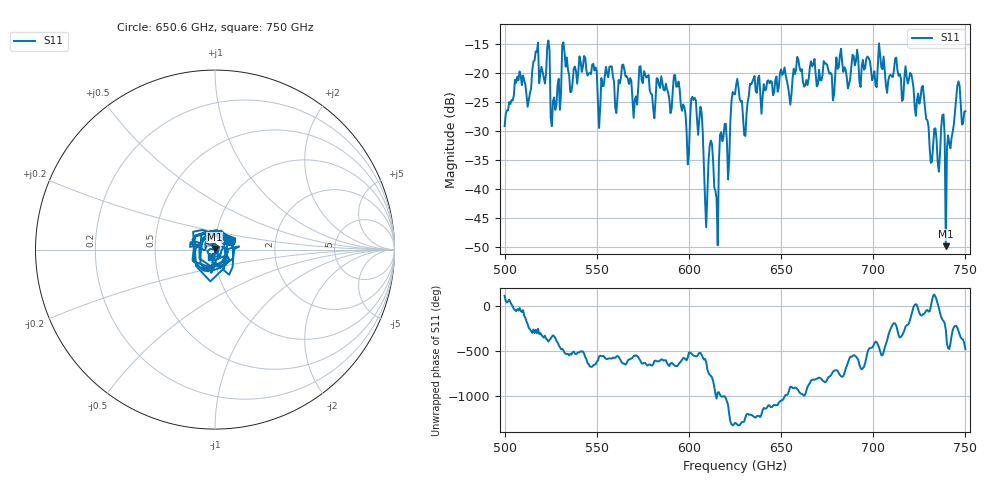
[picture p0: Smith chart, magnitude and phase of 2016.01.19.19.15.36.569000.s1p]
!Created with skrf (http://scikit-rf.org).
# GHz S RI R 50.0
!freq ReS11 ImS11
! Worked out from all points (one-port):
!   401 points, 500 GHz to 750 GHz, reference 50 ohm
!   lowest |S11| = -49.8 dB at 739.4 GHz (marker M1), VSWR 1.01, Z = 50 + j0.32 ohm
!   |S11| at or under -10 dB: start of sweep to end of sweep
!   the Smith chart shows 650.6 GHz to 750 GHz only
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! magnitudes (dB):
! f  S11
! 500 GHz  -29.2
! 506.9 GHz  -20.7
! 513.1 GHz  -24.7
! 516.9 GHz  -16.3
! 523.1 GHz  -15.6
! 526.2 GHz  -24.9
! 531.2 GHz  -15.3
! 562.5 GHz  -21.8
! 593.8 GHz  -22.4
! 599.4 GHz  -35.8
! 602.5 GHz  -24.7
! 606.9 GHz  -26.8
! 609.4 GHz  -46.6
! 611.9 GHz  -31.7
! 615 GHz  -41.6
! 618.1 GHz  -31.8
! 621.2 GHz  -38.3
! 625 GHz  -23.7
! 630.6 GHz  -30.9
! 634.4 GHz  -21.6
! 656.2 GHz  -20.9
! 687.5 GHz  -21.0
! 718.8 GHz  -21.9
! 726.9 GHz  -22.3
! 731.2 GHz  -35.5
! 739.4 GHz  -49.8
! 745.6 GHz  -22.2
! 750 GHz  -26.6
